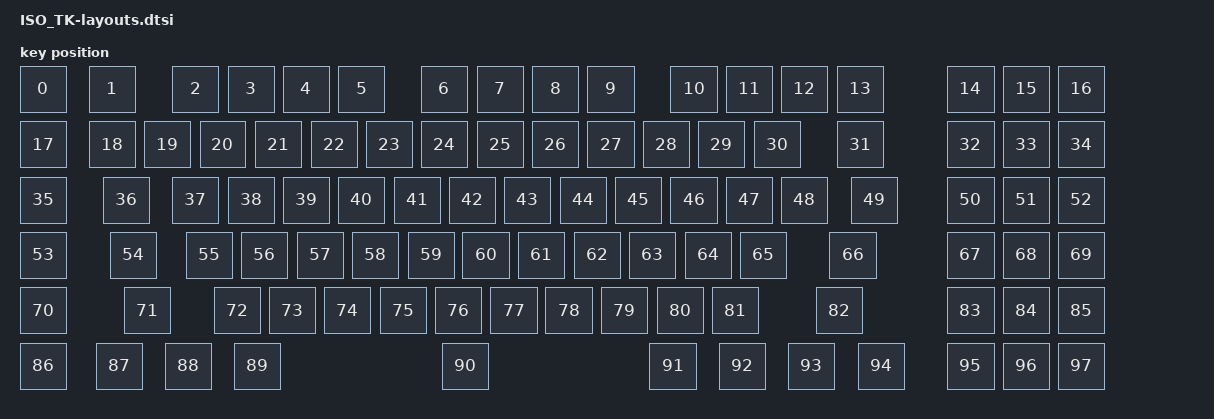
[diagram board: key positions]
#include <physical_layouts.dtsi>

/ {
    keyboard_physical_layout: physical_layout_0 {
        compatible = "zmk,physical-layout";
        display-name = "Keyboard Layout";

        kscan = <&kscan0>;
        transform = <&matrix_transform0>;

        keys  //                     w   h    x    y     rot    rx    ry
            = <&key_physical_attrs 100 100    0    0       0     0     0>
            , <&key_physical_attrs 100 100  138    0       0     0     0>
            , <&key_physical_attrs 100 100  305    0       0     0     0>
            , <&key_physical_attrs 100 100  416    0       0     0     0>
            , <&key_physical_attrs 100 100  526    0       0     0     0>
            , <&key_physical_attrs 100 100  637    0       0     0     0>
            , <&key_physical_attrs 100 100  803    0       0     0     0>
            , <&key_physical_attrs 100 100  914    0       0     0     0>
            , <&key_physical_attrs 100 100 1025    0       0     0     0>
            , <&key_physical_attrs 100 100 1136    0       0     0     0>
            , <&key_physical_attrs 100 100 1302    0       0     0     0>
            , <&key_physical_attrs 100 100 1413    0       0     0     0>
            , <&key_physical_attrs 100 100 1523    0       0     0     0>
            , <&key_physical_attrs 100 100 1634    0       0     0     0>
            , <&key_physical_attrs 100 100 1856    0       0     0     0>
            , <&key_physical_attrs 100 100 1966    0       0     0     0>
            , <&key_physical_attrs 100 100 2077    0       0     0     0>
            , <&key_physical_attrs 100 100    0  111       0     0     0>
            , <&key_physical_attrs 100 100  138  111       0     0     0>
            , <&key_physical_attrs 100 100  249  111       0     0     0>
            , <&key_physical_attrs 100 100  360  111       0     0     0>
            , <&key_physical_attrs 100 100  471  111       0     0     0>
            , <&key_physical_attrs 100 100  582  111       0     0     0>
            , <&key_physical_attrs 100 100  692  111       0     0     0>
            , <&key_physical_attrs 100 100  803  111       0     0     0>
            , <&key_physical_attrs 100 100  914  111       0     0     0>
            , <&key_physical_attrs 100 100 1025  111       0     0     0>
            , <&key_physical_attrs 100 100 1136  111       0     0     0>
            , <&key_physical_attrs 100 100 1246  111       0     0     0>
            , <&key_physical_attrs 100 100 1357  111       0     0     0>
            , <&key_physical_attrs 100 100 1468  111       0     0     0>
            , <&key_physical_attrs 100 100 1634  111       0     0     0>
            , <&key_physical_attrs 100 100 1856  111       0     0     0>
            , <&key_physical_attrs 100 100 1966  111       0     0     0>
            , <&key_physical_attrs 100 100 2077  111       0     0     0>
            , <&key_physical_attrs 100 100    0  222       0     0     0>
            , <&key_physical_attrs 100 100  166  222       0     0     0>
            , <&key_physical_attrs 100 100  305  222       0     0     0>
            , <&key_physical_attrs 100 100  416  222       0     0     0>
            , <&key_physical_attrs 100 100  526  222       0     0     0>
            , <&key_physical_attrs 100 100  637  222       0     0     0>
            , <&key_physical_attrs 100 100  748  222       0     0     0>
            , <&key_physical_attrs 100 100  859  222       0     0     0>
            , <&key_physical_attrs 100 100  969  222       0     0     0>
            , <&key_physical_attrs 100 100 1080  222       0     0     0>
            , <&key_physical_attrs 100 100 1191  222       0     0     0>
            , <&key_physical_attrs 100 100 1302  222       0     0     0>
            , <&key_physical_attrs 100 100 1413  222       0     0     0>
            , <&key_physical_attrs 100 100 1523  222       0     0     0>
            , <&key_physical_attrs 100 100 1662  222       0     0     0>
            , <&key_physical_attrs 100 100 1856  222       0     0     0>
            , <&key_physical_attrs 100 100 1966  222       0     0     0>
            , <&key_physical_attrs 100 100 2077  222       0     0     0>
            , <&key_physical_attrs 100 100    0  332       0     0     0>
            , <&key_physical_attrs 100 100  180  332       0     0     0>
            , <&key_physical_attrs 100 100  332  332       0     0     0>
            , <&key_physical_attrs 100 100  443  332       0     0     0>
            , <&key_physical_attrs 100 100  554  332       0     0     0>
            , <&key_physical_attrs 100 100  665  332       0     0     0>
            , <&key_physical_attrs 100 100  776  332       0     0     0>
            , <&key_physical_attrs 100 100  886  332       0     0     0>
            , <&key_physical_attrs 100 100  997  332       0     0     0>
            , <&key_physical_attrs 100 100 1108  332       0     0     0>
            , <&key_physical_attrs 100 100 1219  332       0     0     0>
            , <&key_physical_attrs 100 100 1330  332       0     0     0>
            , <&key_physical_attrs 100 100 1440  332       0     0     0>
            , <&key_physical_attrs 100 100 1620  332       0     0     0>
            , <&key_physical_attrs 100 100 1856  332       0     0     0>
            , <&key_physical_attrs 100 100 1966  332       0     0     0>
            , <&key_physical_attrs 100 100 2077  332       0     0     0>
            , <&key_physical_attrs 100 100    0  443       0     0     0>
            , <&key_physical_attrs 100 100  208  443       0     0     0>
            , <&key_physical_attrs 100 100  388  443       0     0     0>
            , <&key_physical_attrs 100 100  499  443       0     0     0>
            , <&key_physical_attrs 100 100  609  443       0     0     0>
            , <&key_physical_attrs 100 100  720  443       0     0     0>
            , <&key_physical_attrs 100 100  831  443       0     0     0>
            , <&key_physical_attrs 100 100  942  443       0     0     0>
            , <&key_physical_attrs 100 100 1052  443       0     0     0>
            , <&key_physical_attrs 100 100 1163  443       0     0     0>
            , <&key_physical_attrs 100 100 1274  443       0     0     0>
            , <&key_physical_attrs 100 100 1385  443       0     0     0>
            , <&key_physical_attrs 100 100 1593  443       0     0     0>
            , <&key_physical_attrs 100 100 1856  443       0     0     0>
            , <&key_physical_attrs 100 100 1966  443       0     0     0>
            , <&key_physical_attrs 100 100 2077  443       0     0     0>
            , <&key_physical_attrs 100 100    0  554       0     0     0>
            , <&key_physical_attrs 100 100  152  554       0     0     0>
            , <&key_physical_attrs 100 100  291  554       0     0     0>
            , <&key_physical_attrs 100 100  429  554       0     0     0>
            , <&key_physical_attrs 100 100  845  554       0     0     0>
            , <&key_physical_attrs 100 100 1260  554       0     0     0>
            , <&key_physical_attrs 100 100 1399  554       0     0     0>
            , <&key_physical_attrs 100 100 1537  554       0     0     0>
            , <&key_physical_attrs 100 100 1676  554       0     0     0>
            , <&key_physical_attrs 100 100 1856  554       0     0     0>
            , <&key_physical_attrs 100 100 1966  554       0     0     0>
            , <&key_physical_attrs 100 100 2077  554       0     0     0>
            ;
    };
};
